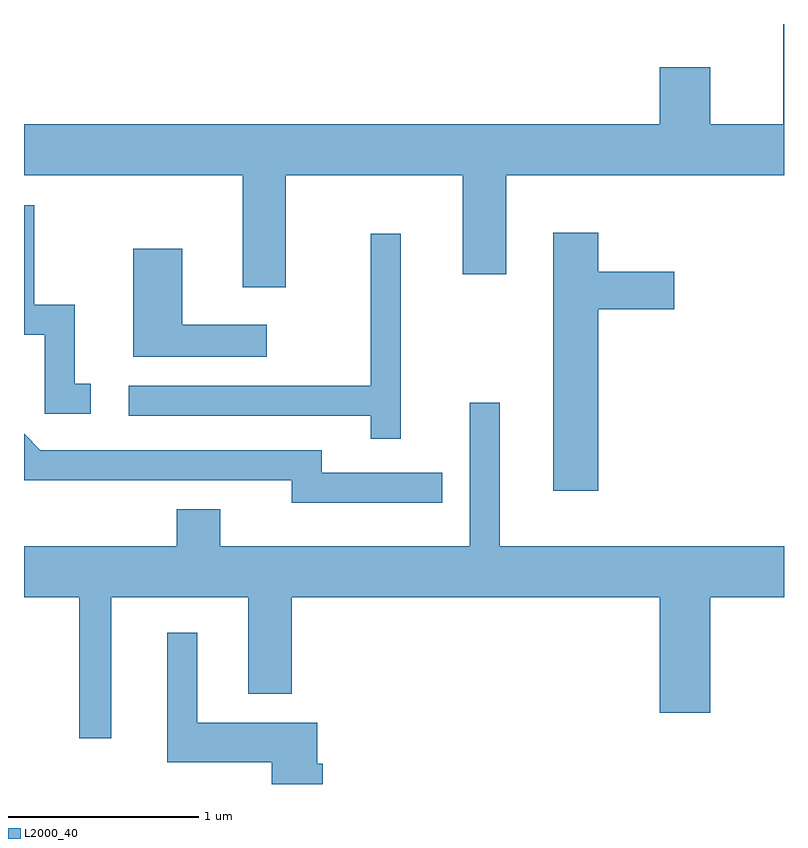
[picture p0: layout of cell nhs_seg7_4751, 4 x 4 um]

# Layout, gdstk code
import gdstk
lib = gdstk.Library(unit=1e-6, precision=1e-09)
def P(c, l, *ps):  # polygons
    for p in ps: c.add(gdstk.Polygon(p, *l))
L2000_40 = (2000, 40)

nhs_seg7_4751 = lib.new_cell('nhs_seg7_4751')
P(nhs_seg7_4751, L2000_40, [(332.989,1685.456),(333.921,1685.456),(333.921,1684.936),(334.149,1684.936),(334.149,1685.456),(335.611,1685.456),(335.611,1686.252),(335.606,1686.252),(335.606,1685.724),(335.224,1685.724),(335.224,1686.024),(334.956,1686.024),(334.956,1685.724),(331.611,1685.724),(331.611,1685.456),(332.761,1685.456),(332.761,1684.866),(332.989,1684.866)],
  [(331.963,1684.359),(331.879,1684.359),(331.879,1684.774),(331.664,1684.774),(331.664,1685.299),(331.611,1685.299),(331.611,1684.616),(331.721,1684.616),(331.721,1684.201),(331.963,1684.201)],
  [(334.634,1684.751),(335.034,1684.751),(335.034,1684.949),(334.634,1684.949),(334.634,1685.154),(334.396,1685.154),(334.396,1683.796),(334.634,1683.796)],
  [(333.594,1685.148),(333.436,1685.148),(333.436,1684.349),(332.163,1684.349),(332.163,1684.191),(333.436,1684.191),(333.436,1684.068),(333.594,1684.068)],
  [(332.888,1684.669),(332.444,1684.669),(332.444,1685.069),(332.186,1685.069),(332.186,1684.501),(332.888,1684.501)],
  [(332.069,1683.236),(332.791,1683.236),(332.791,1682.726),(333.019,1682.726),(333.019,1683.236),(334.956,1683.236),(334.956,1682.626),(335.224,1682.626),(335.224,1683.236),(335.611,1683.236),(335.611,1683.504),(334.114,1683.504),(334.114,1684.258),(333.956,1684.258),(333.956,1683.504),(332.644,1683.504),(332.644,1683.699),(332.416,1683.699),(332.416,1683.504),(331.611,1683.504),(331.611,1683.236),(331.901,1683.236),(331.901,1682.493),(332.069,1682.493)],
  [(333.813,1683.889),(333.179,1683.889),(333.179,1684.009),(331.697,1684.009),(331.611,1684.095),(331.611,1683.851),(333.021,1683.851),(333.021,1683.731),(333.813,1683.731)],
  [(333.184,1682.359),(333.154,1682.359),(333.154,1682.574),(332.524,1682.574),(332.524,1683.048),(332.366,1683.048),(332.366,1682.366),(332.916,1682.366),(332.916,1682.252),(333.184,1682.252)])

lib.write_gds('nhs_seg7_4751.gds')
